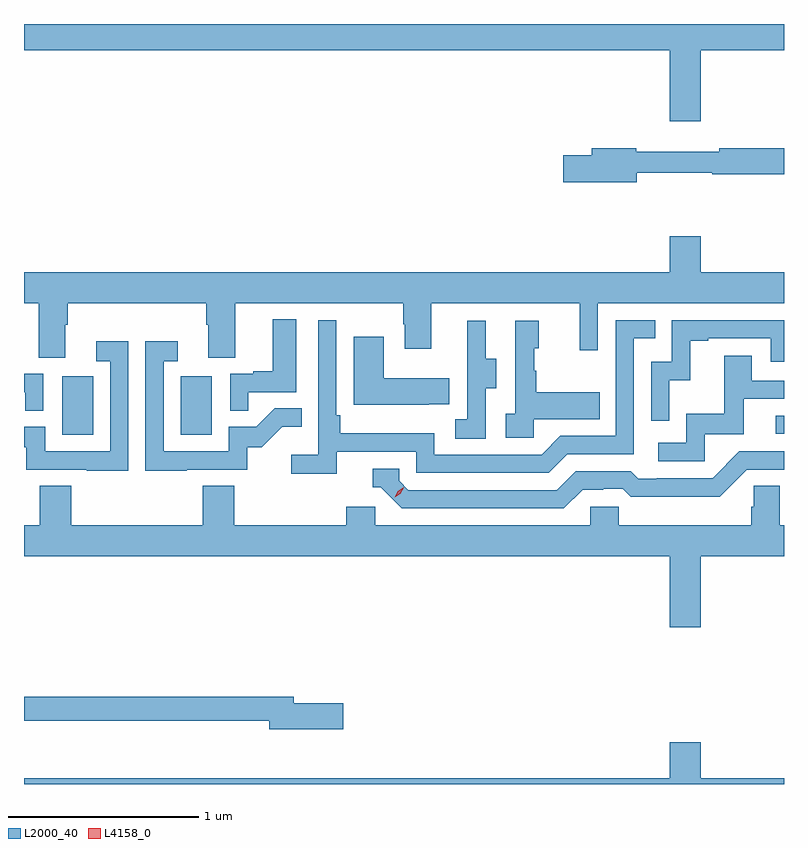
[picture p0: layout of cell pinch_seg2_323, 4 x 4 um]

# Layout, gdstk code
import gdstk
lib = gdstk.Library(unit=1e-6, precision=1e-09)
def R(c, l, rs):  # rectangles x0, y0, x1, y1
    for r in rs: c.add(gdstk.rectangle(r[:2], r[2:], *l))
def P(c, l, *ps):  # polygons
    for p in ps: c.add(gdstk.Polygon(p, *l))
L2000_40 = (2000, 40)
L4158_0 = (4158, 0)

pinch_seg2_323 = lib.new_cell('pinch_seg2_323')
R(pinch_seg2_323, L2000_40, [(893.078,637.62,893.242,637.927), (893.702,637.62,893.866,637.927), (896.835,637.626,896.878,637.719)])
P(pinch_seg2_323, L2000_40, [(896.44,639.644),(896.878,639.644),(896.878,639.782),(892.878,639.782),(892.878,639.644),(896.276,639.644),(896.276,639.27),(896.44,639.27)],
  [(896.104,639),(896.5,639),(896.5,638.992),(896.878,638.992),(896.878,639.128),(896.536,639.128),(896.536,639.109),(896.1,639.109),(896.1,639.128),(895.865,639.128),(895.865,639.092),(895.716,639.092),(895.716,638.95),(896.104,638.95)],
  [(896.276,638.665),(896.276,638.476),(892.878,638.476),(892.878,638.312),(892.955,638.312),(892.955,638.026),(893.095,638.026),(893.095,638.2),(893.108,638.2),(893.108,638.312),(893.837,638.312),(893.837,638.2),(893.849,638.2),(893.849,638.026),(893.989,638.026),(893.989,638.312),(894.874,638.312),(894.874,638.201),(894.881,638.201),(894.881,638.073),(895.021,638.073),(895.021,638.312),(895.802,638.312),(895.802,638.064),(895.899,638.064),(895.899,638.312),(896.878,638.312),(896.878,638.476),(896.44,638.476),(896.44,638.665)],
  [(894.059,637.845),(894.31,637.845),(894.31,638.227),(894.188,638.227),(894.188,637.954),(894.085,637.954),(894.085,637.941),(893.964,637.941),(893.964,637.747),(894.059,637.747)],
  [(894.524,637.53),(894.942,637.53),(894.942,637.419),(895.639,637.419),(895.738,637.518),(896.088,637.518),(896.088,638.127),(896.201,638.127),(896.201,638.223),(895.992,638.223),(895.992,637.614),(895.701,637.614),(895.602,637.515),(895.038,637.515),(895.038,637.627),(894.542,637.627),(894.542,637.723),(894.522,637.723),(894.522,638.224),(894.426,638.224),(894.426,637.516),(894.285,637.516),(894.285,637.414),(894.524,637.414)],
  [(896.274,637.907),(896.384,637.907),(896.384,638.115),(896.479,638.115),(896.479,638.127),(896.808,638.127),(896.808,638.004),(896.878,638.004),(896.878,638.223),(896.286,638.223),(896.286,638.004),(896.178,638.004),(896.178,637.695),(896.274,637.695)],
  [(895.56,637.703),(895.907,637.703),(895.907,637.843),(895.573,637.843),(895.573,637.958),(895.563,637.958),(895.563,638.076),(895.588,638.076),(895.588,638.221),(895.464,638.221),(895.464,637.73),(895.413,637.73),(895.413,637.605),(895.56,637.605)],
  [(895.308,637.864),(895.363,637.864),(895.363,638.019),(895.309,638.019),(895.309,638.221),(895.211,638.221),(895.211,638.007),(895.212,638.007),(895.212,637.703),(895.149,637.703),(895.149,637.6),(895.308,637.6)],
  [(895.007,637.781),(895.115,637.781),(895.115,637.918),(894.772,637.918),(894.772,638.137),(894.614,638.137),(894.614,637.778),(895.007,637.778)],
  [(893.427,638.113),(893.259,638.113),(893.259,638.007),(893.331,638.007),(893.331,637.533),(892.989,637.533),(892.989,637.662),(892.878,637.662),(892.878,637.554),(892.891,637.554),(892.891,637.437),(893.209,637.437),(893.209,637.432),(893.427,637.432)],
  [(893.735,637.437),(894.054,637.437),(894.054,637.554),(894.13,637.554),(894.237,637.661),(894.341,637.661),(894.341,637.76),(894.198,637.76),(894.1,637.662),(893.955,637.662),(893.955,637.533),(893.613,637.533),(893.613,638.007),(893.686,638.007),(893.686,638.113),(893.517,638.113),(893.517,637.432),(893.735,637.432)],
  [(896.46,637.623),(896.665,637.623),(896.665,637.809),(896.878,637.809),(896.878,637.905),(896.707,637.905),(896.707,638.035),(896.563,638.035),(896.563,637.732),(896.364,637.732),(896.364,637.578),(896.217,637.578),(896.217,637.482),(896.46,637.482)],
  [(892.98,637.941),(892.878,637.941),(892.878,637.845),(892.885,637.845),(892.885,637.747),(892.98,637.747)],
  [(895.819,637.332),(895.926,637.332),(895.926,637.335),(896.029,637.335),(896.071,637.293),(896.304,637.293),(896.304,637.295),(896.54,637.295),(896.682,637.437),(896.878,637.437),(896.878,637.533),(896.643,637.533),(896.502,637.392),(896.209,637.392),(896.209,637.389),(896.11,637.389),(896.071,637.428),(895.782,637.428),(895.683,637.329),(894.9,637.329),(894.852,637.377),(894.852,637.44),(894.713,637.44),(894.713,637.344),(894.756,637.344),(894.867,637.233),(895.72,637.233)],
  [(896.44,636.98),(896.878,636.98),(896.878,637.144),(896.856,637.144),(896.856,637.352),(896.719,637.352),(896.719,637.242),(896.705,637.242),(896.705,637.144),(896.007,637.144),(896.007,637.242),(895.857,637.242),(895.857,637.144),(894.726,637.144),(894.726,637.242),(894.575,637.242),(894.575,637.144),(893.984,637.144),(893.984,637.352),(893.819,637.352),(893.819,637.144),(893.126,637.144),(893.126,637.352),(892.961,637.352),(892.961,637.144),(892.878,637.144),(892.878,636.98),(896.276,636.98),(896.276,636.606),(896.44,636.606)],
  [(894.559,636.206),(894.298,636.206),(894.298,636.242),(892.878,636.242),(892.878,636.114),(894.17,636.114),(894.17,636.071),(894.559,636.071)],
  [(896.878,635.812),(896.44,635.812),(896.44,636.001),(896.276,636.001),(896.276,635.812),(892.878,635.812),(892.878,635.782),(896.878,635.782)])
P(pinch_seg2_323, L4158_0, [(894.828,637.292),(894.828,637.292),(894.845,637.324),(894.876,637.343),(894.876,637.343),(894.876,637.342),(894.859,637.31),(894.828,637.292)])

lib.write_gds('pinch_seg2_323.gds')
